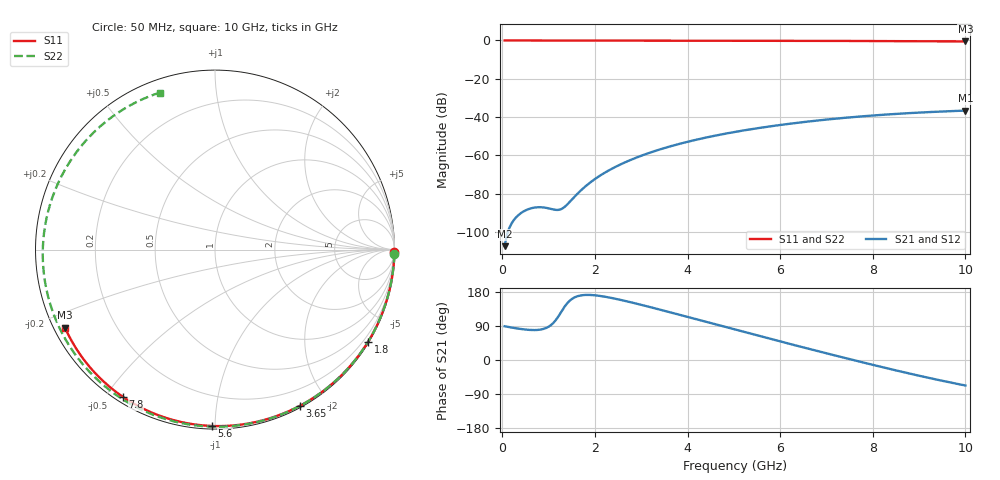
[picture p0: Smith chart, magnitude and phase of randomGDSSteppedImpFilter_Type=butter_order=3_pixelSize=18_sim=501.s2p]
! freq	dB(S11)	phase(S11)	dB(S12)	phase(S12)
!  dB(S21)	phase(S21)	dB(S22)	phase(S22)
!S-par simulation data
#  GHz  S  DB  R 50
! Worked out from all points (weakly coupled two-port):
!   200 points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, 50 MHz to 10 GHz, reference 50 ohm
!   highest |S21| = -36.64 dB at 10 GHz (marker M1); lowest = -107.5 dB at 50 MHz (marker M2)
!   lowest |S11| = -0.5 dB at 10 GHz (marker M3), VSWR 33.60, Z = 1.58 - j12.2 ohm
!   |S11| at or under -10 dB: nowhere
!   |S22| runs from -0.7 to 0.0 dB; largest |S21 - S12| = 0
!   S11 on the Smith chart (normalised r, x): 50 MHz: open; 1.8 GHz: 0.03, -3.59; 3.65 GHz: 0.02, -1.68; 5.6 GHz: 0.02, -0.98; 7.8 GHz: 0.02, -0.55; 10 GHz: 0.03, -0.24
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0.05  -0.00 -0.9  -107.47 89.1  -107.47 89.1  -0.00 -1.4
0.8  -0.02 -14.0  -87.12 79.9  -87.12 79.9  -0.03 -22.2
1.6  -0.04 -27.7  -80.65 167.3  -80.65 167.3  -0.06 -43.8
1.65  -0.04 -28.5  -79.43 169.2  -79.43 169.2  -0.06 -45.1
1.75  -0.04 -30.2  -77.17 171.3  -77.17 171.3  -0.06 -47.8
1.8  -0.04 -31.1  -76.12 171.7  -76.12 171.7  -0.06 -49.1
2.1  -0.05 -36.1  -70.77 169.2  -70.77 169.2  -0.07 -56.9
2.45  -0.05 -42.0  -65.97 161.4  -65.97 161.4  -0.08 -65.9
2.9  -0.06 -49.4  -61.16 148.6  -61.16 148.6  -0.10 -77.1
3.4  -0.08 -57.4  -56.95 133.1  -56.95 133.1  -0.12 -89.3
3.65  -0.08 -61.4  -55.17 125.0  -55.17 125.0  -0.12 -95.3
4.35  -0.10 -72.3  -50.98 102.3  -50.98 102.3  -0.15 -111.6
5.05  -0.13 -82.9  -47.67 79.5  -47.67 79.5  -0.19 -127.5
5.6  -0.15 -91.0  -45.52 61.8  -45.52 61.8  -0.22 -139.8
6.15  -0.18 -98.9  -43.68 44.3  -43.68 44.3  -0.26 -152.2
6.7  -0.21 -106.7  -42.10 27.0  -42.10 27.0  -0.30 -164.6
7.25  -0.24 -114.4  -40.74 9.9  -40.74 9.9  -0.35 -177.3
7.8  -0.29 -122.0  -39.58 -6.8  -39.58 -6.8  -0.40 169.6
8.35  -0.33 -129.6  -38.61 -23.1  -38.61 -23.1  -0.46 155.9
9.15  -0.41 -140.6  -37.50 -45.6  -37.50 -45.6  -0.55 134.5
9.6  -0.47 -146.8  -37.01 -57.4  -37.01 -57.4  -0.60 121.6
10  -0.52 -152.5  -36.64 -67.2  -36.64 -67.2  -0.66 109.4
